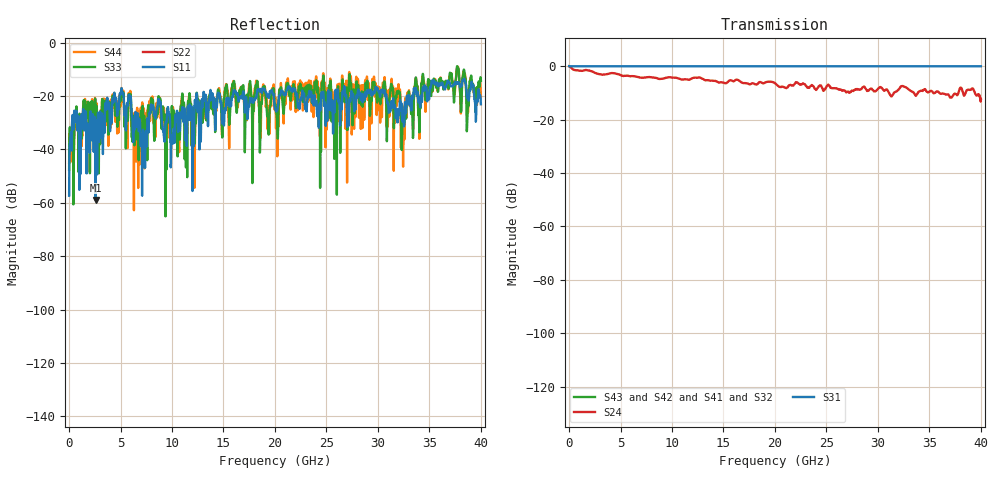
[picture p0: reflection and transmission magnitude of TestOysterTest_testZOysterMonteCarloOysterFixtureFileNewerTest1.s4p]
# MHz MA S R 50.0
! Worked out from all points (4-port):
!   8000 points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, 5 MHz to 40 GHz, reference 50 ohm
!   strongest paths, dB at 5 MHz, 10.01 GHz, 20 GHz, 30 GHz, 40 GHz:
!     S31: 0.0, 0.0, 0.0, 0.0, 0.0
!     S24: 0.0, -4.2, -6.4, -8.5, -12.1
!     S43: -, -, -, -, -
!     S42: -, -, -, -, -
!     S41: -, -, -, -, -
!     S32: -, -, -, -, -
!   lowest |S11| = -59.0 dB at 2.575 GHz (marker M1), VSWR 1.00, Z = 50 - j0.108 ohm
!   |S11| at or under -10 dB: start of sweep to end of sweep
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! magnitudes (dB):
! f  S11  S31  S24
! 5 MHz  -57.3  0.0  0.0
! 520 MHz  -25.5  0.0  -1.4
! 2.575 GHz  -59.0  0.0  -2.5
! 5.095 GHz  -17.1  0.0  -3.5
! 7.235 GHz  -36.7  0.0  -4.3
! 8.73 GHz  -21.8  0.0  -4.7
! 40 GHz  -23.1  0.0  -12.1
